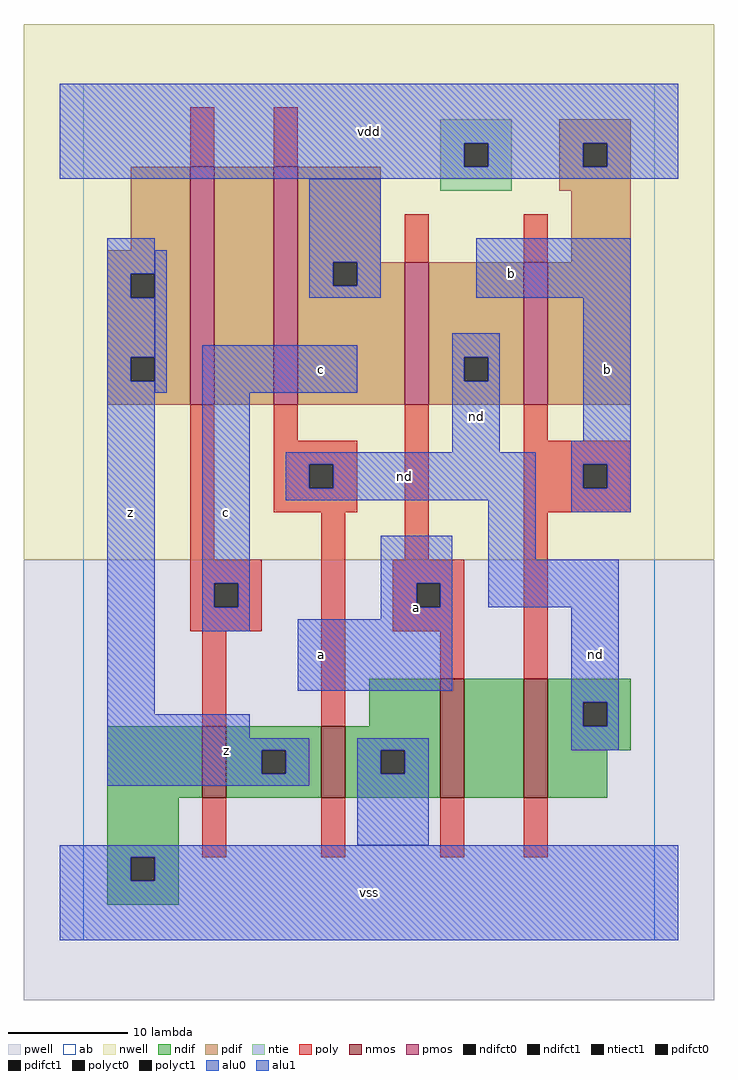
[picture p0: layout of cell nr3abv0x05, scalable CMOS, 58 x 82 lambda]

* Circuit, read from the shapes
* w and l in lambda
.subckt nr3abv0x05 a b c nd vdd vss z
M1 z c vss VSUBS nfet w=6 l=2
M2 vss nd z VSUBS nfet w=6 l=2
M3 n1 a vss VSUBS nfet w=10 l=2
M4 nd b n1 VSUBS nfet w=10 l=2
M5 n2 c z vdd pfet w=20 l=2
M6 vdd nd n2 vdd pfet w=20 l=2
M7 nd a vdd vdd pfet w=12 l=2
M8 vdd b nd vdd pfet w=12 l=2
.ends

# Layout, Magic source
magic
tech scmos
<< ab >>
rect 0 0 48 72
<< nwell >>
rect -5 32 53 77
<< pwell >>
rect -5 -5 53 32
<< poly >>
rect 9 65 11 70
rect 16 65 18 70
rect 27 57 29 61
rect 37 57 39 61
rect 9 32 11 45
rect 16 42 18 45
rect 16 40 23 42
rect 16 38 19 40
rect 21 38 23 40
rect 16 36 23 38
rect 9 30 15 32
rect 9 28 11 30
rect 13 28 15 30
rect 9 26 15 28
rect 10 18 12 26
rect 20 18 22 36
rect 27 32 29 45
rect 37 42 39 45
rect 37 40 46 42
rect 37 38 42 40
rect 44 38 46 40
rect 37 36 46 38
rect 26 30 32 32
rect 26 28 28 30
rect 30 28 32 30
rect 26 26 32 28
rect 30 22 32 26
rect 37 22 39 36
rect 10 7 12 12
rect 20 7 22 12
rect 30 7 32 12
rect 37 7 39 12
<< ndif >>
rect 24 18 30 22
rect 2 12 10 18
rect 12 16 20 18
rect 12 14 15 16
rect 17 14 20 16
rect 12 12 20 14
rect 22 16 30 18
rect 22 14 25 16
rect 27 14 30 16
rect 22 12 30 14
rect 32 12 37 22
rect 39 20 46 22
rect 39 18 42 20
rect 44 18 46 20
rect 39 16 46 18
rect 39 12 44 16
rect 2 7 8 12
rect 2 5 4 7
rect 6 5 8 7
rect 2 3 8 5
<< pdif >>
rect 4 58 9 65
rect 2 56 9 58
rect 2 54 4 56
rect 6 54 9 56
rect 2 49 9 54
rect 2 47 4 49
rect 6 47 9 49
rect 2 45 9 47
rect 11 45 16 65
rect 18 57 25 65
rect 40 67 46 69
rect 40 65 42 67
rect 44 65 46 67
rect 40 63 46 65
rect 41 57 46 63
rect 18 55 21 57
rect 23 55 27 57
rect 18 45 27 55
rect 29 49 37 57
rect 29 47 32 49
rect 34 47 37 49
rect 29 45 37 47
rect 39 45 46 57
<< alu1 >>
rect -2 67 50 72
rect -2 65 32 67
rect 34 65 42 67
rect 44 65 50 67
rect -2 64 50 65
rect 2 56 6 59
rect 2 54 4 56
rect 2 49 6 54
rect 2 47 4 49
rect 2 19 6 47
rect 33 54 46 59
rect 10 46 23 50
rect 10 30 14 46
rect 42 42 46 54
rect 10 28 11 30
rect 13 28 14 30
rect 10 26 14 28
rect 25 30 31 34
rect 25 28 28 30
rect 30 28 31 30
rect 41 40 46 42
rect 41 38 42 40
rect 44 38 46 40
rect 41 36 46 38
rect 25 27 31 28
rect 18 21 31 27
rect 2 17 14 19
rect 2 16 19 17
rect 2 14 15 16
rect 17 14 19 16
rect 2 13 19 14
rect -2 7 50 8
rect -2 5 4 7
rect 6 5 50 7
rect -2 0 50 5
<< ntie >>
rect 30 67 36 69
rect 30 65 32 67
rect 34 65 36 67
rect 30 63 36 65
<< nmos >>
rect 10 12 12 18
rect 20 12 22 18
rect 30 12 32 22
rect 37 12 39 22
<< pmos >>
rect 9 45 11 65
rect 16 45 18 65
rect 27 45 29 57
rect 37 45 39 57
<< polyct0 >>
rect 19 38 21 40
<< polyct1 >>
rect 11 28 13 30
rect 42 38 44 40
rect 28 28 30 30
<< ndifct0 >>
rect 25 14 27 16
rect 42 18 44 20
<< ndifct1 >>
rect 15 14 17 16
rect 4 5 6 7
<< ntiect1 >>
rect 32 65 34 67
<< pdifct0 >>
rect 21 55 23 57
rect 32 47 34 49
<< pdifct1 >>
rect 4 54 6 56
rect 4 47 6 49
rect 42 65 44 67
<< alu0 >>
rect 6 46 7 58
rect 19 57 25 64
rect 19 55 21 57
rect 23 55 25 57
rect 19 54 25 55
rect 31 49 35 51
rect 31 47 32 49
rect 34 47 35 49
rect 31 41 35 47
rect 17 40 38 41
rect 17 38 19 40
rect 21 38 38 40
rect 17 37 38 38
rect 34 32 38 37
rect 34 28 45 32
rect 41 20 45 28
rect 41 18 42 20
rect 44 18 45 20
rect 23 16 29 17
rect 41 16 45 18
rect 23 14 25 16
rect 27 14 29 16
rect 23 8 29 14
<< labels >>
rlabel alu0 43 24 43 24 6 nd
rlabel alu0 27 39 27 39 6 nd
rlabel alu0 33 44 33 44 6 nd
rlabel alu1 4 36 4 36 6 z
rlabel alu1 12 16 12 16 6 z
rlabel alu1 20 24 20 24 6 a
rlabel alu1 12 36 12 36 6 c
rlabel alu1 20 48 20 48 6 c
rlabel alu1 24 4 24 4 6 vss
rlabel alu1 28 28 28 28 6 a
rlabel alu1 24 68 24 68 6 vdd
rlabel alu1 44 48 44 48 6 b
rlabel alu1 36 56 36 56 6 b
<< end >>
